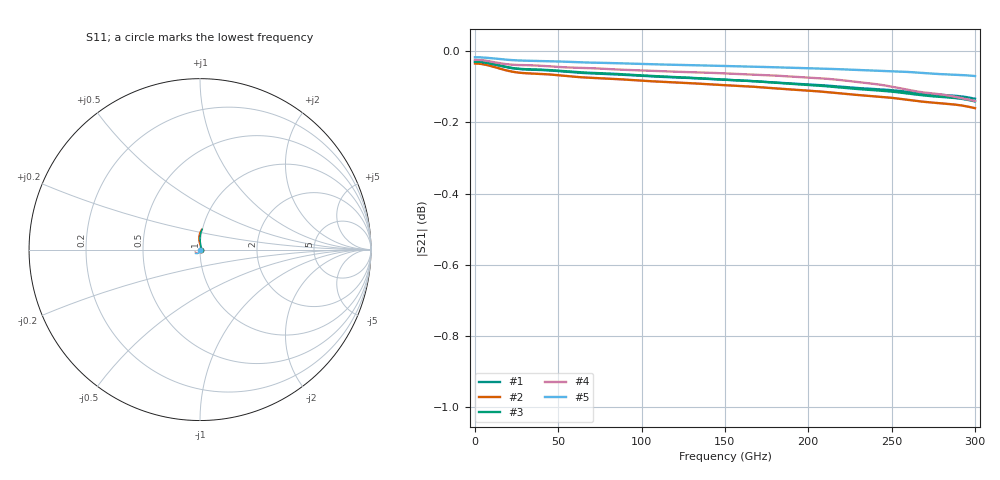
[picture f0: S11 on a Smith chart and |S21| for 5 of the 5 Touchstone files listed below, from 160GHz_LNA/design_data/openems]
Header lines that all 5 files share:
#  Hz  S  RI  R  50
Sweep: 100 MHz to 300 GHz
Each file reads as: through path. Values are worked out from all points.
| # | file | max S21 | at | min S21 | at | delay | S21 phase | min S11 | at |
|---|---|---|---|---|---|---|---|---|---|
| 1 | 1st_TL.s2p | -0.03 dB | 100 MHz | -0.1 dB | 300 GHz | 730 fs | -39 deg at 150.1 GHz | -49.2 dB | 100 MHz |
| 2 | 2nd_TL.s2p | -0.03 dB | 100 MHz | -0.2 dB | 300 GHz | 905 fs | -49 deg at 150.1 GHz | -47.8 dB | 100 MHz |
| 3 | 4th_TL.s2p | -0.03 dB | 100 MHz | -0.1 dB | 300 GHz | 736 fs | -40 deg at 150.1 GHz | -49.4 dB | 100 MHz |
| 4 | Dgen.s2p | -0.02 dB | 100 MHz | -0.1 dB | 300 GHz | 657 fs | -36 deg at 150.1 GHz | -51.1 dB | 100 MHz |
| 5 | Dgen_final_stage.s2p | -0.02 dB | 100 MHz | -0.1 dB | 300 GHz | 439 fs | -24 deg at 150.1 GHz | -54.2 dB | 100 MHz |
